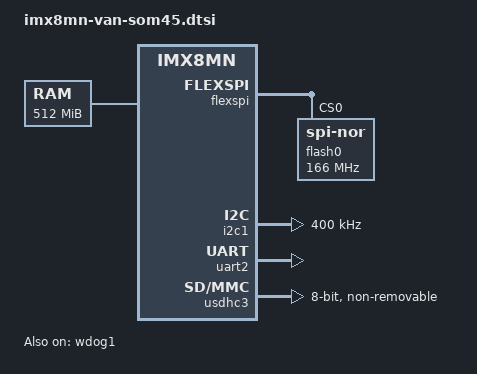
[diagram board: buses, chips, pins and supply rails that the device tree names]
// SPDX-License-Identifier: (GPL-2.0+ OR MIT)
/*
 * Copyright 2019 NXP
 */

#include <dt-bindings/usb/pd.h>
#include "imx8mn.dtsi"

/ {
	chosen {
		stdout-path = &uart2;
	};

	memory@40000000 {
		device_type = "memory";
		reg = <0x0 0x40000000 0 0x20000000>;
	};
};

&flexspi {
	pinctrl-names = "default";
	pinctrl-0 = <&pinctrl_flexspi>;
	status = "okay";

	flash0: flash@0 {
		compatible = "jedec,spi-nor";
		reg = <0>;
		#address-cells = <1>;
		#size-cells = <1>;
		spi-max-frequency = <166000000>;
		spi-tx-bus-width = <4>;
		spi-rx-bus-width = <4>;
	};
};

&i2c1 {
	clock-frequency = <400000>;
	pinctrl-names = "default";
	pinctrl-0 = <&pinctrl_i2c1>;
	status = "okay";
};

&uart2 { /* console */
	pinctrl-names = "default";
	pinctrl-0 = <&pinctrl_uart2>;
	status = "okay";
};

&usdhc3 {
	assigned-clocks = <&clk IMX8MN_CLK_USDHC3_ROOT>;
	assigned-clock-rates = <400000000>;
	pinctrl-names = "default", "state_100mhz", "state_200mhz";
	pinctrl-0 = <&pinctrl_usdhc3>;
	pinctrl-1 = <&pinctrl_usdhc3_100mhz>;
	pinctrl-2 = <&pinctrl_usdhc3_200mhz>;
	bus-width = <8>;
	non-removable;
	status = "okay";
};

&wdog1 {
	pinctrl-names = "default";
	pinctrl-0 = <&pinctrl_wdog>;
	fsl,ext-reset-output;
	status = "okay";
};

&iomuxc {
	pinctrl_flexspi: flexspigrp {
		fsl,pins = <
			MX8MN_IOMUXC_NAND_ALE_QSPI_A_SCLK               0x1c2
			MX8MN_IOMUXC_NAND_CE0_B_QSPI_A_SS0_B            0x82
			MX8MN_IOMUXC_NAND_DATA00_QSPI_A_DATA0           0x82
			MX8MN_IOMUXC_NAND_DATA01_QSPI_A_DATA1           0x82
			MX8MN_IOMUXC_NAND_DATA02_QSPI_A_DATA2           0x82
			MX8MN_IOMUXC_NAND_DATA03_QSPI_A_DATA3           0x82
		>;
	};

	pinctrl_i2c1: i2c1grp {
		fsl,pins = <
			MX8MN_IOMUXC_I2C1_SCL_I2C1_SCL		0x400001c3
			MX8MN_IOMUXC_I2C1_SDA_I2C1_SDA		0x400001c3
		>;
	};

	pinctrl_i2c2: i2c2grp {
		fsl,pins = <
			MX8MN_IOMUXC_I2C2_SCL_I2C2_SCL		0x400001c3
			MX8MN_IOMUXC_I2C2_SDA_I2C2_SDA		0x400001c3
		>;
	};

	pinctrl_pmic: pmicirqgrp {
		fsl,pins = <
			MX8MN_IOMUXC_GPIO1_IO03_GPIO1_IO3	0x141
		>;
	};

	pinctrl_uart1: uart1grp {
		fsl,pins = <
			MX8MN_IOMUXC_UART1_RXD_UART1_DCE_RX	0x140
			MX8MN_IOMUXC_UART1_TXD_UART1_DCE_TX	0x140
			MX8MN_IOMUXC_UART3_RXD_UART1_DCE_CTS_B	0x140
			MX8MN_IOMUXC_UART3_TXD_UART1_DCE_RTS_B	0x140
		>;
	};

	pinctrl_uart2: uart2grp {
		fsl,pins = <
			MX8MN_IOMUXC_UART2_RXD_UART2_DCE_RX	0x140
			MX8MN_IOMUXC_UART2_TXD_UART2_DCE_TX	0x140
		>;
	};

	pinctrl_usdhc3: usdhc3grp {
		fsl,pins = <
			MX8MN_IOMUXC_NAND_WE_B_USDHC3_CLK		0x40000190
			MX8MN_IOMUXC_NAND_WP_B_USDHC3_CMD		0x1d0
			MX8MN_IOMUXC_NAND_DATA04_USDHC3_DATA0		0x1d0
			MX8MN_IOMUXC_NAND_DATA05_USDHC3_DATA1		0x1d0
			MX8MN_IOMUXC_NAND_DATA06_USDHC3_DATA2		0x1d0
			MX8MN_IOMUXC_NAND_DATA07_USDHC3_DATA3		0x1d0
			MX8MN_IOMUXC_NAND_RE_B_USDHC3_DATA4		0x1d0
			MX8MN_IOMUXC_NAND_CE2_B_USDHC3_DATA5		0x1d0
			MX8MN_IOMUXC_NAND_CE3_B_USDHC3_DATA6		0x1d0
			MX8MN_IOMUXC_NAND_CLE_USDHC3_DATA7		0x1d0
			MX8MN_IOMUXC_NAND_CE1_B_USDHC3_STROBE		0x190
		>;
	};

	pinctrl_usdhc3_100mhz: usdhc3-100mhzgrp {
		fsl,pins = <
			MX8MN_IOMUXC_NAND_WE_B_USDHC3_CLK		0x40000194
			MX8MN_IOMUXC_NAND_WP_B_USDHC3_CMD		0x1d4
			MX8MN_IOMUXC_NAND_DATA04_USDHC3_DATA0		0x1d4
			MX8MN_IOMUXC_NAND_DATA05_USDHC3_DATA1		0x1d4
			MX8MN_IOMUXC_NAND_DATA06_USDHC3_DATA2		0x1d4
			MX8MN_IOMUXC_NAND_DATA07_USDHC3_DATA3		0x1d4
			MX8MN_IOMUXC_NAND_RE_B_USDHC3_DATA4		0x1d4
			MX8MN_IOMUXC_NAND_CE2_B_USDHC3_DATA5		0x1d4
			MX8MN_IOMUXC_NAND_CE3_B_USDHC3_DATA6		0x1d4
			MX8MN_IOMUXC_NAND_CLE_USDHC3_DATA7		0x1d4
			MX8MN_IOMUXC_NAND_CE1_B_USDHC3_STROBE		0x194
		>;
	};

	pinctrl_usdhc3_200mhz: usdhc3-200mhzgrp {
		fsl,pins = <
			MX8MN_IOMUXC_NAND_WE_B_USDHC3_CLK		0x40000196
			MX8MN_IOMUXC_NAND_WP_B_USDHC3_CMD		0x1d6
			MX8MN_IOMUXC_NAND_DATA04_USDHC3_DATA0		0x1d6
			MX8MN_IOMUXC_NAND_DATA05_USDHC3_DATA1		0x1d6
			MX8MN_IOMUXC_NAND_DATA06_USDHC3_DATA2		0x1d6
			MX8MN_IOMUXC_NAND_DATA07_USDHC3_DATA3		0x1d6
			MX8MN_IOMUXC_NAND_RE_B_USDHC3_DATA4		0x1d6
			MX8MN_IOMUXC_NAND_CE2_B_USDHC3_DATA5		0x1d6
			MX8MN_IOMUXC_NAND_CE3_B_USDHC3_DATA6		0x1d6
			MX8MN_IOMUXC_NAND_CLE_USDHC3_DATA7		0x1d6
			MX8MN_IOMUXC_NAND_CE1_B_USDHC3_STROBE		0x196
		>;
	};

	pinctrl_wdog: wdoggrp {
		fsl,pins = <
			MX8MN_IOMUXC_GPIO1_IO02_WDOG1_WDOG_B		0x166
		>;
	};
};

